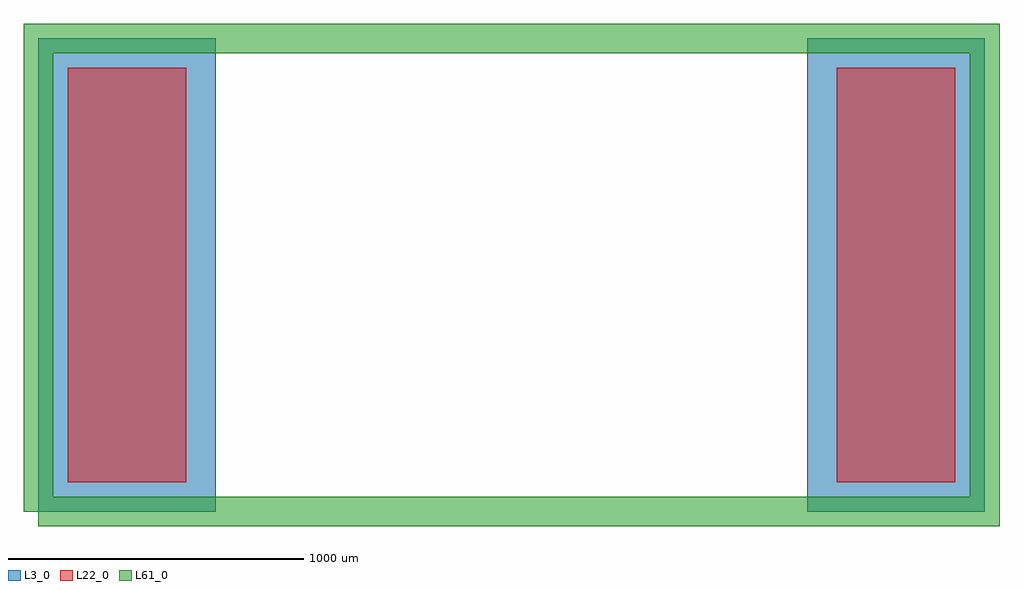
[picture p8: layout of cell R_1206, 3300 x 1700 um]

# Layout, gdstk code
import gdstk
lib = gdstk.Library(unit=1e-6, precision=1e-09)
def R(c, l, rs):  # rectangles x0, y0, x1, y1
    for r in rs: c.add(gdstk.rectangle(r[:2], r[2:], *l))
L3_0 = (3, 0)
L22_0 = (22, 0)
L61_0 = (61, 0)

r_1206 = lib.new_cell('R_1206')
R(r_1206, L3_0, [(-1600,-800,-1000,800), (1000,-800,1600,800)])
R(r_1206, L22_0, [(-1500,-700,-1100,700), (1100,-700,1500,700)])
r_1206.add(gdstk.FlexPath([(-1600,-800),(1600,-800),(1600,800),(-1600,800),(-1600,-800)], 100, ends="flush", simple_path=True, layer=61, datatype=0))  # L61_0

lib.write_gds('R_1206.gds')
